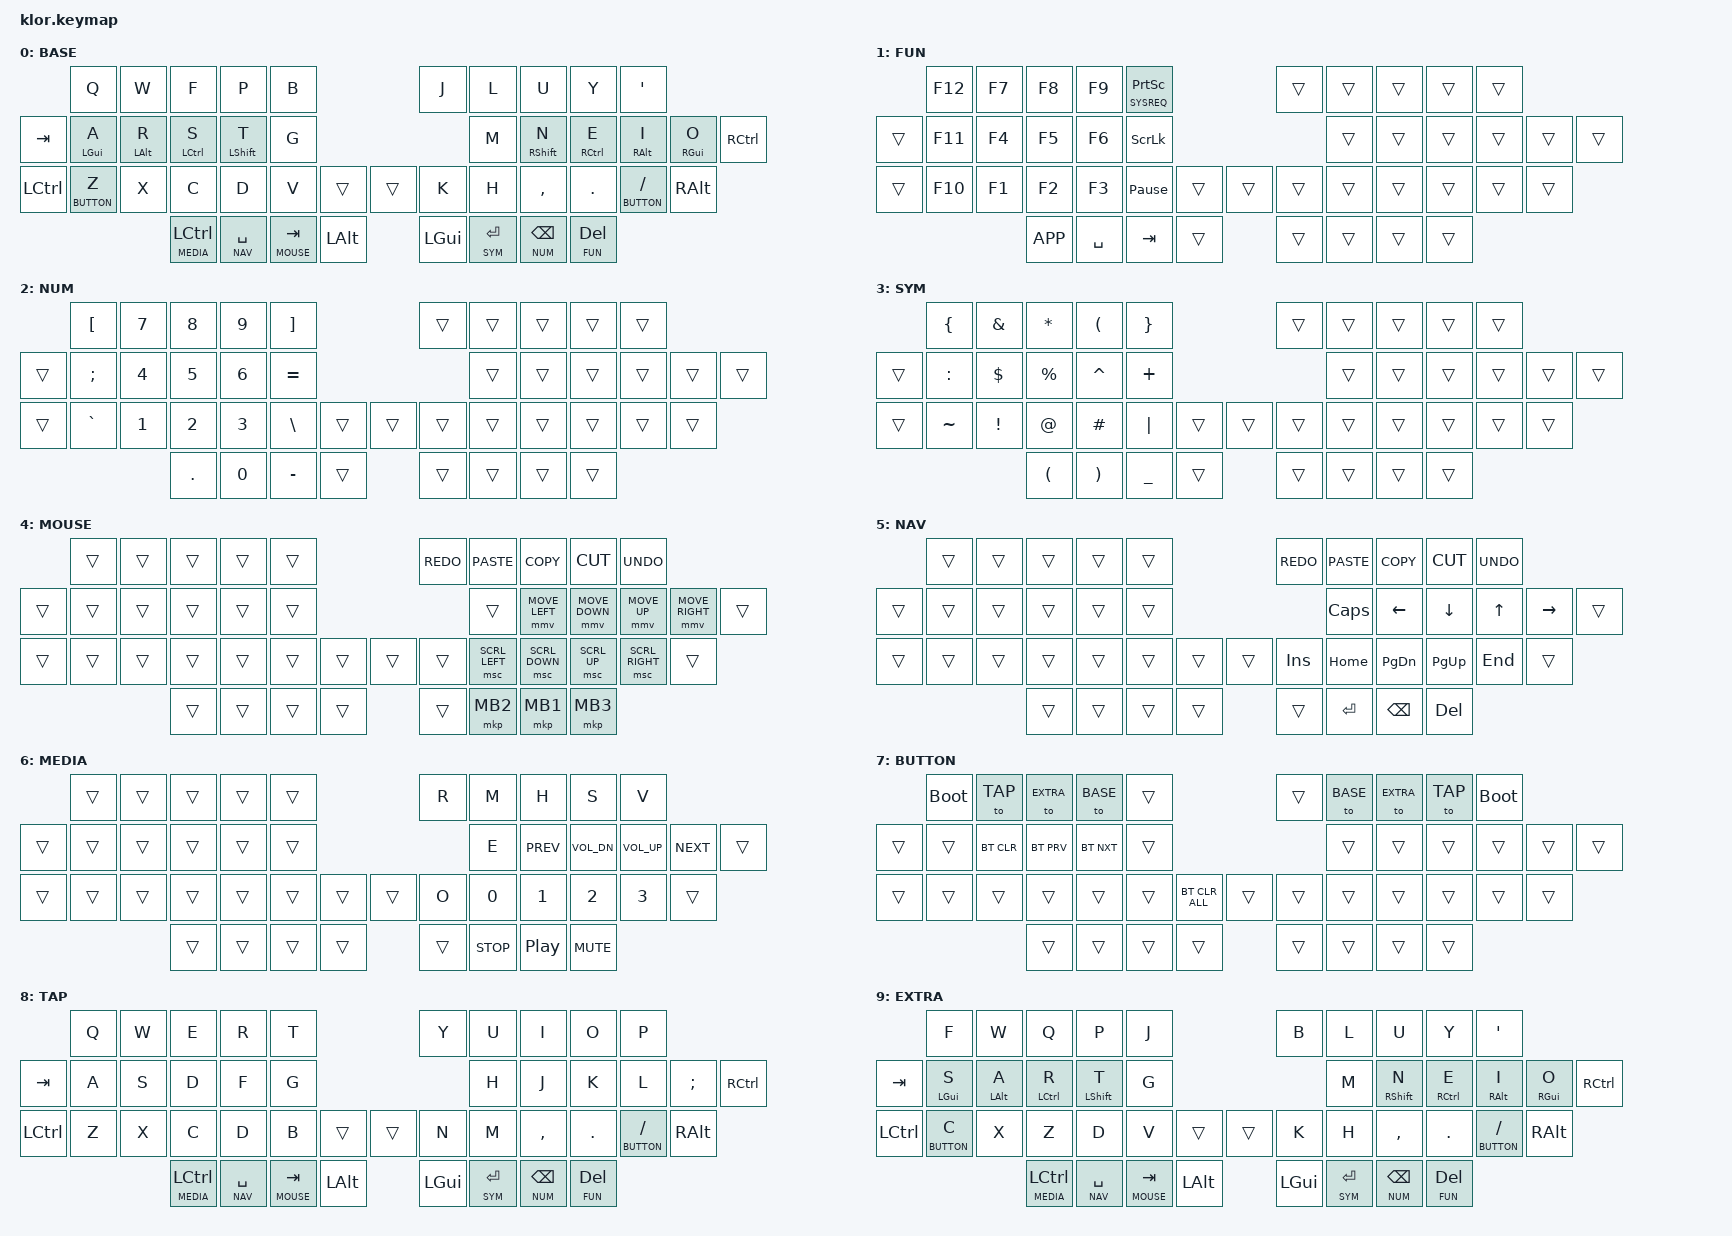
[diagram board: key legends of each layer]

//                               █         █    █            ▄▄▄▀▀▀▀▀▀▄▄▄        █▀▀▀▀▀▀▀▀▀▀█
//                               █        █     █          ▄▀            ▀▄      █          █
//                               █       █      █        ▄▀                ▀▄    █          █
//                               █      █       █        █                  █    █          █
//                               █     █        █       █                    █   █          █
//                               █    █         █       █                    █   █▄▄▄▄▄▄▄▄▄▄█
//                               █   █ █        █       █                    █   █      █
//                               █  █   █       █        █                  █    █       █
//                               █ █     █      █        ▀▄                ▄▀    █        █
//                               ██       █     █          ▀▄            ▄▀      █         █
//                               █         █    █▄▄▄▄▄▄▄▄    ▀▀▀▄▄▄▄▄▄▀▀▀        █          █
//
// ▄▄▄▄▄▄▄▄▄▄▄▄▄▄▄▄▄▄▄▄▄▄▄▄▄▄▄▄▄▄▄▄▄▄▄▄▄▄▄▄▄▄▄▄▄▄▄▄▄▄▄▄▄▄▄▄▄▄▄▄▄▄▄▄▄▄▄▄▄▄▄▄▄▄▄▄▄▄▄▄▄▄▄▄▄▄▄▄▄▄▄▄▄▄▄▄▄▄▄▄▄▄▄▄▄▄▄▄▄▄▄▄▄▄▄▄▄▄▄▄▄▄▄▄▄
       
#include <behaviors.dtsi>
#include <dt-bindings/zmk/keys.h>
#include <dt-bindings/zmk/bt.h>
#include <dt-bindings/zmk/outputs.h>
#include <dt-bindings/zmk/ext_power.h>
// #include <dt-bindings/zmk/rgb.h>

#define ZMK_POINTING_DEFAULT_MOVE_VAL 600	// default: 600
#define ZMK_POINTING_DEFAULT_SCRL_VAL 10    	// default: 10

#include <dt-bindings/zmk/pointing.h>

#define BASE   0
#define FUN    1
#define NUM    2
#define SYM    3
#define MOUSE  4
#define NAV    5
#define MEDIA  6
#define BUTTON 7
#define TAP    8
#define EXTRA  9

/ {

    behaviors {
        hm: homerow_mods {
            compatible = "zmk,behavior-hold-tap";
            label = "HOMEROW_MODS";
            #binding-cells = <2>;
            tapping-term-ms = <300>;    // I am geriatric I believe
            quick_tap_ms = <0>;
            flavor = "tap-preferred";
            bindings = <&kp>, <&kp>;
        };

	hml: homerow_layer_tap {
	    compatible = "zmk,behavior-hold-tap";
	    label = "HOMEROW_LAYER_MODS";
	    #binding-cells = <2>;
            tapping-term-ms = <200>;
            flavor = "tap-preferred";
            bindings = <&mo>, <&kp>;
	};

    };

     combos {
            compatible = "zmk,combos";
            combo_esc {
                timeout-ms = <50>;
                key-positions = <0 1>;
                bindings = <&kp ESC>;
            };
    };


// I had to give up consistency for codes for readability which mattered more for me here to read on screen

        keymap {
                compatible = "zmk,keymap";
// ▄▄▄▄▄▄▄▄▄▄▄▄▄▄▄▄▄▄▄▄▄▄▄▄▄▄▄▄▄▄▄▄▄▄▄▄▄▄▄▄▄▄▄▄▄▄▄▄▄▄▄▄▄▄▄▄▄▄▄▄▄▄▄▄▄▄▄▄▄▄▄▄▄▄▄▄▄▄▄▄▄▄▄▄▄▄▄▄▄▄▄▄▄▄▄▄▄▄▄▄▄▄▄▄▄▄▄▄▄▄▄▄▄▄▄▄▄▄▄▄▄▄▄▄▄▄▄▄▄▄▄▄▄▄▄▄▄▄▄▄▄▄


                base_layer {
// ┌───────────────────────────────────────────────────────────┐
label= "BASE"                                                  ;
// └───────────────────────────────────────────────────────────┘
/*           ┌─────────┬─────────┬─────────┬─────────┬─────────┐                    ┌─────────┬─────────┬─────────┬─────────┬─────────┐
             │    Q    │    W    │    F    │    P    │    B    │                    │    J    │    L    │    U    │    Y    │    '    │   
   ┌─────────┼─────────┼─────────┼─────────┼─────────┼─────────┤                    ├─────────┼─────────┼─────────┼─────────┼─────────┼─────────┐
   │   TAB   │   A/SU  │   R/ALT │  S/CTRL │  T/SHFT │    G    │                    │    M    │  N/SHFT │ E/CTRL  │  I/ALT  │  O/SU   │   CTRL  │
   ├─────────┼─────────┼─────────┼─────────┼─────────┼─────────┤╭────────╮╭────────╮├─────────┼─────────┼─────────┼─────────┼─────────┼─────────┤
   │   CTRL  │    Z    │    X    │    C    │    D    │    V    ││  MUTE  ││PLY/PSE ││    K    │    H    │    ,    │    .    │    /    │   ALT   │
   └─────────┴─────────┴─────────┼─────────┼─────────┼─────────┼╰────────╯╰────────╯┼─────────┼─────────┼─────────┼─────────┴─────────┴─────────┘
                                 │   ESC/Me│ SPACE/Na│   TAB/Mo│   ALT   ││ CMD/WIN │  ENTER/S│  BSPC/Nu│   DEL/F │  
                                 └─────────┴─────────┴─────────┴─────────┘└─────────┴─────────┴─────────┴─────────┘ */ 
 bindings = <
 //╷           ╷		╷		╷		╷		╷		╷		╷╷		╷		╷		╷		╷		╷		 ╷         ╷ 
               &kp Q         	&kp W     	&kp F     	&kp P     	&kp B                          	 	   	&kp J     	&kp L     	&kp U     	&kp Y     	&kp SQT
   &kp TAB     &hm LGUI A    	&hm LALT R 	&hm LCTRL S 	&hm LSHFT T 	&kp G                      		   	&kp M     	&hm RSHFT N 	&hm RCTRL E 	&hm RALT I 	&hm RGUI O	 &kp RCTRL
   &kp LCTRL   &hml BUTTON Z 	&kp X     	&kp C     	&kp D     	&kp V           &trans   	 &trans    	&kp K     	&kp H     	&kp COMMA 	&kp DOT   	&hml BUTTON FSLH &kp RALT
               	    	   	    		&hml MEDIA LCTRL &hml NAV SPACE &hml MOUSE TAB 	&kp LALT   	 &kp LGUI  	&hml SYM RET    &hml NUM BSPC  	&hml FUN DEL    
                        >;
//            sensor-bindings = <&inc_dec_kp C_VOL_UP C_VOL_DN>;
                };

// ▄▄▄▄▄▄▄▄▄▄▄▄▄▄▄▄▄▄▄▄▄▄▄▄▄▄▄▄▄▄▄▄▄▄▄▄▄▄▄▄▄▄▄▄▄▄▄▄▄▄▄▄▄▄▄▄▄▄▄▄▄▄▄▄▄▄▄▄▄▄▄▄▄▄▄▄▄▄▄▄▄▄▄▄▄▄▄▄▄▄▄▄▄▄▄▄▄▄▄▄▄▄▄▄▄▄▄▄▄▄▄▄▄▄▄▄▄▄▄▄▄▄▄▄▄▄▄▄▄▄▄▄▄▄▄▄▄▄▄▄▄▄


                fun_layer {
// ┌───────────────────────────────────────────────────────────┐
label= "FUN"                                                 ;
// └───────────────────────────────────────────────────────────┘
/*           ┌─────────┬─────────┬─────────┬─────────┬─────────┐                    ┌─────────┬─────────┬─────────┬─────────┬─────────┐
             │   F12   │   F7    │    F8   │   F9    │ PrtScn/S│                    │         │         │         │         │         │
   ┌─────────┼─────────┼─────────┼─────────┼─────────┼─────────┤                    ├─────────┼─────────┼─────────┼─────────┼─────────┼─────────┐
   │         │   F11   │   F4    │    F5   │   F6    │ ScrLoc  │                    │         │         │         │         │         │         │
   ├─────────┼─────────┼─────────┼─────────┼─────────┼─────────┤╭────────╮╭────────╮├─────────┼─────────┼─────────┼─────────┼─────────┼─────────┤
   │         │         │   F10   │    F2   │   F3    │ Pause/B ││        ││        ││         │         │         │         │         │         │
   └─────────┴─────────┴─────────┼─────────┼─────────┼─────────┼╰────────╯╰────────╯┼─────────┼─────────┼─────────┼─────────┴─────────┴─────────┘
                                 │   MENU  │   SPC   │  TAB    │         ││         │         │         │         │  
                                 └─────────┴─────────┴─────────┴─────────┘└─────────┴─────────┴─────────┴─────────┘ */ 
 bindings = <
 //╷         ╷         ╷         ╷         ╷         ╷         ╷         ╷╷         ╷         ╷         ╷         ╷         ╷         ╷         ╷
    	     &kp F12   &kp F7 	 &kp F8    &kp F9    &hm SYSREQ PSCRN	             &trans   &trans 	&trans 	  &trans    &trans
    &trans   &kp F11   &kp F4  	 &kp F5    &kp F6    &kp SLCK			     &trans   &trans 	&trans 	  &trans    &trans	&trans
    &trans   &kp F10   &kp F1 	 &kp F2    &kp F3    &kp PAUSE_BREAK &trans &trans   &trans   &trans 	&trans 	  &trans    &trans 	&trans
                                 &kp K_APP &kp SPACE &kp TAB	&trans     &trans    &trans   &trans 	&trans  
                        >;
//            sensor-bindings = <&inc_dec_kp C_VOL_UP C_VOL_DN>;
                };

// ▄▄▄▄▄▄▄▄▄▄▄▄▄▄▄▄▄▄▄▄▄▄▄▄▄▄▄▄▄▄▄▄▄▄▄▄▄▄▄▄▄▄▄▄▄▄▄▄▄▄▄▄▄▄▄▄▄▄▄▄▄▄▄▄▄▄▄▄▄▄▄▄▄▄▄▄▄▄▄▄▄▄▄▄▄▄▄▄▄▄▄▄▄▄▄▄▄▄▄▄▄▄▄▄▄▄▄▄▄▄▄▄▄▄▄▄▄▄▄▄▄▄▄▄▄


                num_layer {
// ┌───────────────────────────────────────────────────────────┐
label= "NUM"                                                 ;
// └───────────────────────────────────────────────────────────┘
/*           ┌─────────┬─────────┬─────────┬─────────┬─────────┐                    ┌─────────┬─────────┬─────────┬─────────┬─────────┐
             │    [    │    7    │    8    │    9    │    ]    │                    │         │         │         │         │         │
   ┌─────────┼─────────┼─────────┼─────────┼─────────┼─────────┤                    ├─────────┼─────────┼─────────┼─────────┼─────────┼─────────┐
   │         │    ;    │    4    │    5    │    6    │    =    │                    │         │         │         │         │         │         │
   ├─────────┼─────────┼─────────┼─────────┼─────────┼─────────┤╭────────╮╭────────╮├─────────┼─────────┼─────────┼─────────┼─────────┼─────────┤
   │         │	  `    │    1    │    2    │    3    │    \    ││        ││        ││         │         │         │         │         │         │
   └─────────┴─────────┴─────────┼─────────┼─────────┼─────────┼╰────────╯╰────────╯┼─────────┼─────────┼─────────┼─────────┴─────────┴─────────┘
                                 │    .    │    0    │    -    │         ││         │         │         │         │  
                                 └─────────┴─────────┴─────────┴─────────┘└─────────┴─────────┴─────────┴─────────┘ */ 
 bindings = <
 //╷         ╷         ╷         ╷         ╷         ╷         ╷         ╷╷         ╷         ╷         ╷         ╷         ╷         ╷         ╷
              &kp LBKT  &kp N7   &kp N8    &kp N9     &kp RBKT                       &trans    &trans    &trans	   &trans    &trans     
    &trans    &kp SEMI	&kp N4	 &kp N5    &kp N6     &kp EQUAL                      &trans    &trans    &trans    &trans    &trans 	&trans  
    &trans    &kp GRAVE &kp N1   &kp N2    &kp N3     &kp BSLH    &trans     &trans  &trans    &trans    &trans    &trans    &trans    	&trans
                                  &kp DOT  &kp N0     &kp MINUS	  &trans     &trans  &trans    &trans    &trans  
                        >;
//                sensor-bindings = <&inc_dec_kp C_VOL_UP C_VOL_DN>;
                };

// ▄▄▄▄▄▄▄▄▄▄▄▄▄▄▄▄▄▄▄▄▄▄▄▄▄▄▄▄▄▄▄▄▄▄▄▄▄▄▄▄▄▄▄▄▄▄▄▄▄▄▄▄▄▄▄▄▄▄▄▄▄▄▄▄▄▄▄▄▄▄▄▄▄▄▄▄▄▄▄▄▄▄▄▄▄▄▄▄▄▄▄▄▄▄▄▄▄▄▄▄▄▄▄▄▄▄▄▄▄▄▄▄▄▄▄▄▄▄▄▄▄▄▄▄▄


                sym_layer {
// ┌───────────────────────────────────────────────────────────┐
label= "SYM"                                                ;
// └───────────────────────────────────────────────────────────┘
/*           ┌─────────┬─────────┬─────────┬─────────┬─────────┐                    ┌─────────┬─────────┬─────────┬─────────┬─────────┐
             │    {    │    &    │    *    │    (    │    }    │                    │         │         │         │         │         │
   ┌─────────┼─────────┼─────────┼─────────┼─────────┼─────────┤                    ├─────────┼─────────┼─────────┼─────────┼─────────┼─────────┐
   │         │    :    │    $    │    %    │    ^    │    +    │                    │         │         │         │         │         │         │
   ├─────────┼─────────┼─────────┼─────────┼─────────┼─────────┤╭────────╮╭────────╮├─────────┼─────────┼─────────┼─────────┼─────────┼─────────┤
   │         │    ~    │    !    │    @    │    #    │    |    ││        ││        ││         │         │         │         │         │         │
   └─────────┴─────────┴─────────┼─────────┼─────────┼─────────┼╰────────╯╰────────╯┼─────────┼─────────┼─────────┼─────────┴─────────┴─────────┘
                                 │    (    │    )    │    _    │         ││         │         │         │         │  
                                 └─────────┴─────────┴─────────┴─────────┘└─────────┴─────────┴─────────┴─────────┘ */ 
 bindings = <
 //╷         ╷         ╷         ╷         ╷         ╷         ╷         ╷╷         ╷         ╷         ╷         ╷         ╷         ╷         ╷
             &kp LBRC   &kp AMPS  &kp ASTRK &kp LPAR  &kp RBRC                       &trans    &trans    &trans    &trans    &trans   
    &trans   &kp COLON  &kp DLLR  &kp PRCNT &kp CARET &kp PLUS                       &trans    &trans    &trans    &trans    &trans    &trans 
    &trans   &kp TILDE  &kp EXCL  &kp AT    &kp HASH  &kp PIPE  &trans     &trans    &trans    &trans    &trans    &trans    &trans    &trans    
                                  &kp LPAR  &kp RPAR  &kp UNDER &trans     &trans    &trans    &trans    &trans    
                        >;
//            sensor-bindings = <&inc_dec_kp C_VOL_UP C_VOL_DN>;
                };


                mouse_layer {
// ┌───────────────────────────────────────────────────────────┐
label= "MOUSE"                                                ;
// └───────────────────────────────────────────────────────────┘
/*           ┌─────────┬─────────┬─────────┬─────────┬─────────┐                    ┌─────────┬─────────┬─────────┬─────────┬─────────┐
             │         │         │         │         │         │                    │  REDO   │  PASTE  │  COPY   │  CUT    │   UNDO  │
   ┌─────────┼─────────┼─────────┼─────────┼─────────┼─────────┤                    ├─────────┼─────────┼─────────┼─────────┼─────────┼─────────┐
   │         │         │         │         │         │         │                    │         │    ←	│    ↓    │    ↑    │    →    │         │
   ├─────────┼─────────┼─────────┼─────────┼─────────┼─────────┤╭────────╮╭────────╮├─────────┼─────────┼─────────┼─────────┼─────────┼─────────┤
   │         │         │         │         │         │         ││        ││        ││         │    ⇐    │    ⇓    │    ⇑    │    ⇒    │         │
   └─────────┴─────────┴─────────┼─────────┼─────────┼─────────┼╰────────╯╰────────╯┼─────────┼─────────┼─────────┼─────────┴─────────┴─────────┘
                                 │         │         │         │         ││         │ RCLICK  │ LCLICK  │   MMB   │  
                                 └─────────┴─────────┴─────────┴─────────┘└─────────┴─────────┴─────────┴─────────┘ */ 
 bindings = <
 //╷         ╷         ╷         ╷         ╷         ╷         ╷         ╷╷         ╷		╷		╷		╷		╷		╷         ╷
             &trans    &trans    &trans    &trans    &trans                         &kp K_REDO 	&kp K_PASTE 	&kp K_COPY 	&kp K_CUT 	&kp K_UNDO   
    &trans   &trans    &trans    &trans    &trans    &trans                         &trans    	&mmv MOVE_LEFT 	&mmv MOVE_DOWN  &mmv MOVE_UP 	&mmv MOVE_RIGHT &trans  
    &trans   &trans    &trans    &trans    &trans    &trans    &trans     &trans    &trans    	&msc SCRL_LEFT 	&msc SCRL_DOWN  &msc SCRL_UP 	&msc SCRL_RIGHT &trans    
                                 &trans    &trans    &trans    &trans     &trans    &mkp MB2  	&mkp MB1  	&mkp MB3    
                        >;
//            sensor-bindings = <&inc_dec_kp C_VOL_UP C_VOL_DN>;
                };



                nav_layer {
// ┌───────────────────────────────────────────────────────────┐
label= "NAV"                                                ;
// └───────────────────────────────────────────────────────────┘
/*           ┌─────────┬─────────┬─────────┬─────────┬─────────┐                    ┌─────────┬─────────┬─────────┬─────────┬─────────┐
             │         │         │         │         │         │                    │  REDO   │  PASTE  │  COPY   │  CUT    │   UNDO  │
   ┌─────────┼─────────┼─────────┼─────────┼─────────┼─────────┤                    ├─────────┼─────────┼─────────┼─────────┼─────────┼─────────┐
   │         │         │         │         │         │         │                    │  CAPSL  │   LEFT  │  DOWN   │  UP     │  RIGHT  │         │
   ├─────────┼─────────┼─────────┼─────────┼─────────┼─────────┤╭────────╮╭────────╮├─────────┼─────────┼─────────┼─────────┼─────────┼─────────┤
   │         │         │         │         │         │         ││        ││        ││ INSERT  │  HOME   │  PGDN   │  PGUP   │   END   │         │
   └─────────┴─────────┴─────────┼─────────┼─────────┼─────────┼╰────────╯╰────────╯┼─────────┼─────────┼─────────┼─────────┴─────────┴─────────┘
                                 │         │         │         │         ││         │  RET    │  BSPC   │  DEL    │  
                                 └─────────┴─────────┴─────────┴─────────┘└─────────┴─────────┴─────────┴─────────┘ */ 
 bindings = <
 //╷         ╷         ╷         ╷         ╷         ╷         ╷         ╷╷         ╷		╷		╷		╷		╷         ╷         ╷
             &trans    &trans    &trans    &trans    &trans                         &kp K_REDO 	&kp K_PASTE 	&kp K_COPY 	&kp K_CUT 	&kp K_UNDO   
    &trans   &trans    &trans    &trans    &trans    &trans                         &kp CAPS  	&kp LEFT  	&kp DOWN  	&kp UP    	&kp RIGHT &trans   
    &trans   &trans    &trans    &trans    &trans    &trans    &trans     &trans    &kp INS   	&kp HOME  	&kp PG_DN 	&kp PG_UP 	&kp END   &trans    
                                 &trans    &trans    &trans    &trans     &trans    &kp RET   	&kp BSPC  	&kp DEL    
                        >;
//            sensor-bindings = <&inc_dec_kp C_VOL_UP C_VOL_DN>;
                };



                media_layer {
// ┌───────────────────────────────────────────────────────────┐
label= "MEDIA"                                                ;
// └───────────────────────────────────────────────────────────┘
/*           ┌─────────┬─────────┬─────────┬─────────┬─────────┐                    ┌─────────┬─────────┬─────────┬─────────┬─────────┐
             │         │         │         │         │         │                    │    R    │   M     │   H     │    S    │    V    │	(MPV/VLC focus)
   ┌─────────┼─────────┼─────────┼─────────┼─────────┼─────────┤                    ├─────────┼─────────┼─────────┼─────────┼─────────┼─────────┐
   │         │         │         │         │         │         │                    │    E    │   ⏮    │   🔉    │   🔊    │    ⏭   │         │
   ├─────────┼─────────┼─────────┼─────────┼─────────┼─────────┤╭────────╮╭────────╮├─────────┼─────────┼─────────┼─────────┼─────────┼─────────┤
   │         │         │         │         │         │         ││        ││        ││    O    │    0    │    1    │    2    │    3    │         │
   └─────────┴─────────┴─────────┼─────────┼─────────┼─────────┼╰────────╯╰────────╯┼─────────┼─────────┼─────────┼─────────┴─────────┴─────────┘
                                 │         │         │         │         ││         │   ⏹     │   ⏯(P) │    🔇   │  
                                 └─────────┴─────────┴─────────┴─────────┘└─────────┴─────────┴─────────┴─────────┘ */ 
 bindings = <
 //╷         ╷         ╷         ╷         ╷         ╷         ╷         ╷╷         ╷		╷		╷		╷		╷		╷         ╷
             &trans    &trans    &trans    &trans    &trans                         &kp R     	&kp M      	&kp H     	&kp S     	&kp V   
    &trans   &trans    &trans    &trans    &trans    &trans                         &kp E     	&kp C_PREV 	&kp C_VOL_DN 	&kp C_VOL_UP 	&kp C_NEXT	&trans 
    &trans   &trans    &trans    &trans    &trans    &trans    &trans     &trans    &kp O     	&kp N0   	&kp N1    	&kp N2    	&kp N3    	&trans    
                                 &trans    &trans    &trans    &trans     &trans    &kp C_STOP 	&kp C_PP 	&kp C_MUTE    
                        >;
//            sensor-bindings = <&inc_dec_kp C_VOL_UP C_VOL_DN>;
                };

		button_layer {
// ┌───────────────────────────────────────────────────────────┐
label= "BUTTON"                                                ;
// └───────────────────────────────────────────────────────────┘
/*           ┌─────────┬─────────┬─────────┬─────────┬─────────┐                    ┌─────────┬─────────┬─────────┬─────────┬─────────┐
             │  Boot   │   Tap   │  Extra  │  Base   │         │                    │         │   Base  │  Extra  │   Tap   │  Boot   │	
   ┌─────────┼─────────┼─────────┼─────────┼─────────┼─────────┤                    ├─────────┼─────────┼─────────┼─────────┼─────────┼─────────┐
   │         │         │  BT_CLR │ BT_PRV  │ BT_NXT  │         │                    │	      │		│	  │	    │	      │         │
   ├─────────┼─────────┼─────────┼─────────┼─────────┼─────────┤╭────────╮╭────────╮├─────────┼─────────┼─────────┼─────────┼─────────┼─────────┤
   │         │         │   Opp   │   Cur   │         │         ││B_C_ALL ││        ││         │   Cur   │   Opp   │	    │         │         │ (not Implemented yet for feel)
   └─────────┴─────────┴─────────┼─────────┼─────────┼─────────┼╰────────╯╰────────╯┼─────────┼─────────┼─────────┼─────────┴─────────┴─────────┘
                                 │         │         │         │         ││         │	      │         │         │  
                                 └─────────┴─────────┴─────────┴─────────┘└─────────┴─────────┴─────────┴─────────┘ */ 
 bindings = <
 //╷         ╷         ╷		╷		╷		╷         ╷		╷╷         ╷         ╷         ╷         ╷         ╷         ╷         ╷
           &bootloader &to TAP	 	&to EXTRA 	&to BASE  	&trans                         	   &trans    &to BASE	&to EXTRA &to TAP   &bootloader    
    &trans   &trans    &bt BT_CLR    	&bt BT_PRV    	&bt BT_NXT    	&trans                         	   &trans    &trans    &trans    &trans    &trans    &trans 
    &trans   &trans    &trans    	&trans    	&trans    	&trans    &bt BT_CLR_ALL &trans    &trans    &trans    &trans    &trans    &trans    &trans    
                                 	&trans    	&trans    	&trans    &trans     	 &trans    &trans    &trans    &trans    
                        >;
//            sensor-bindings = <&inc_dec_kp C_VOL_UP C_VOL_DN>;
                };


		tap_layer {	
// ┌───────────────────────────────────────────────────────────┐
label= "TAP"							;
// └───────────────────────────────────────────────────────────┘
/*           ┌─────────┬─────────┬─────────┬─────────┬─────────┐                    ┌─────────┬─────────┬─────────┬─────────┬─────────┐
             │    Q    │    W    │    E    │    R    │    T    │                    │    Y    │    U    │    I    │    O    │    P    │   
   ┌─────────┼─────────┼─────────┼─────────┼─────────┼─────────┤                    ├─────────┼─────────┼─────────┼─────────┼─────────┼─────────┐
   │   TAB   │	  A    │    S    │    D    │    F    │    G    │                    │    H    │    J    │    K    │    L    │    :    │   CTRL  │
   ├─────────┼─────────┼─────────┼─────────┼─────────┼─────────┤╭────────╮╭────────╮├─────────┼─────────┼─────────┼─────────┼─────────┼─────────┤
   │   CTRL  │    Z    │    X    │    C    │    V    │    B    ││  MUTE  ││PLY/PSE ││    N    │    M    │    ,    │    .    │ //BUTTON│   ALT   │
   └─────────┴─────────┴─────────┼─────────┼─────────┼─────────┼╰────────╯╰────────╯┼─────────┼─────────┼─────────┼─────────┴─────────┴─────────┘
                                 │   ESC/Me│ SPACE/Na│   TAB/Mo│   ALT   ││ CMD/WIN │  ENTER/S│  BSPC/Nu│   DEL/F │  
                                 └─────────┴─────────┴─────────┴─────────┘└─────────┴─────────┴─────────┴─────────┘ */ 
 bindings = <
 //╷         ╷         ╷         ╷         ╷         ╷         ╷         ╷╷         ╷         ╷         ╷         ╷         ╷         ╷         ╷ 
              &kp Q     &kp W     &kp E     &kp R     &kp T                          &kp Y     &kp U     &kp I     &kp O     &kp P
   &kp TAB    &kp A 	&kp S 	  &kp D     &kp F     &kp G                          &kp H     &kp J 	 &kp K 	   &kp L     &kp SEMI	&kp RCTRL
   &kp LCTRL  &kp Z 	&kp X     &kp C     &kp D     &kp B     &trans     &trans    &kp N     &kp M     &kp COMMA &kp DOT   &hml BUTTON FSLH  &kp RALT
              &hml MEDIA LCTRL &hml NAV SPACE &hml MOUSE TAB 	&kp LALT   &kp LGUI  &hml SYM RET &hml NUM BSPC  &hml FUN DEL    
                        >;
//            sensor-bindings = <&inc_dec_kp C_VOL_UP C_VOL_DN>;
                };

		extra_layer {
// ┌───────────────────────────────────────────────────────────┐
label= "EXTRA"                                                ;
// └───────────────────────────────────────────────────────────┘
/*           ┌─────────┬─────────┬─────────┬─────────┬─────────┐                    ┌─────────┬─────────┬─────────┬─────────┬─────────┐
             │    F    │    W    │    Q    │    P    │    J    │                    │    B    │    L    │    U    │    Y    │    '    │   
   ┌─────────┼─────────┼─────────┼─────────┼─────────┼─────────┤                    ├─────────┼─────────┼─────────┼─────────┼─────────┼─────────┐
   │   TAB   │   S/SU  │   A/ALT │  R/CTRL │  T/SHFT │    G    │                    │    M    │  N/SHFT │ E/CTRL  │  I/ALT  │  O/SU   │   CTRL  │
   ├─────────┼─────────┼─────────┼─────────┼─────────┼─────────┤╭────────╮╭────────╮├─────────┼─────────┼─────────┼─────────┼─────────┼─────────┤
   │   CTRL  │    Z    │    X    │    C    │    D    │    V    ││  MUTE  ││PLY/PSE ││    K    │    H    │    ,    │    .    │ //BUTTON│   ALT   │
   └─────────┴─────────┴─────────┼─────────┼─────────┼─────────┼╰────────╯╰────────╯┼─────────┼─────────┼─────────┼─────────┴─────────┴─────────┘
                                 │   ESC/Me│ SPACE/Na│   TAB/Mo│   ALT   ││ CMD/WIN │  ENTER/S│  BSPC/Nu│   DEL/F │  
                                 └─────────┴─────────┴─────────┴─────────┘└─────────┴─────────┴─────────┴─────────┘ */ 
 bindings = <
 //╷         ╷         ╷         ╷         ╷         ╷         ╷         ╷╷         ╷         ╷         ╷         ╷         ╷         ╷         ╷ 
              &kp F     &kp W     &kp Q     &kp P     &kp J                          &kp B     &kp L     &kp U     &kp Y     &kp SQT
   &kp TAB  &hm LGUI S &hm LALT A &hm LCTRL R &hm LSHFT T &kp G                      &kp M     &hm RSHFT N &hm RCTRL E &hm RALT I &hm RGUI O &kp RCTRL
&kp LCTRL &hml BUTTON C &kp X     &kp Z     &kp D     &kp V     &trans     &trans    &kp K     &kp H     &kp COMMA &kp DOT   &hml BUTTON FSLH  &kp RALT
              &hml MEDIA LCTRL &hml NAV SPACE &hml MOUSE TAB 	&kp LALT   &kp LGUI  &hml SYM RET &hml NUM BSPC  &hml FUN DEL    
                      >;
//            sensor-bindings = <&inc_dec_kp C_VOL_UP C_VOL_DN>;
                };
		
        };
};
